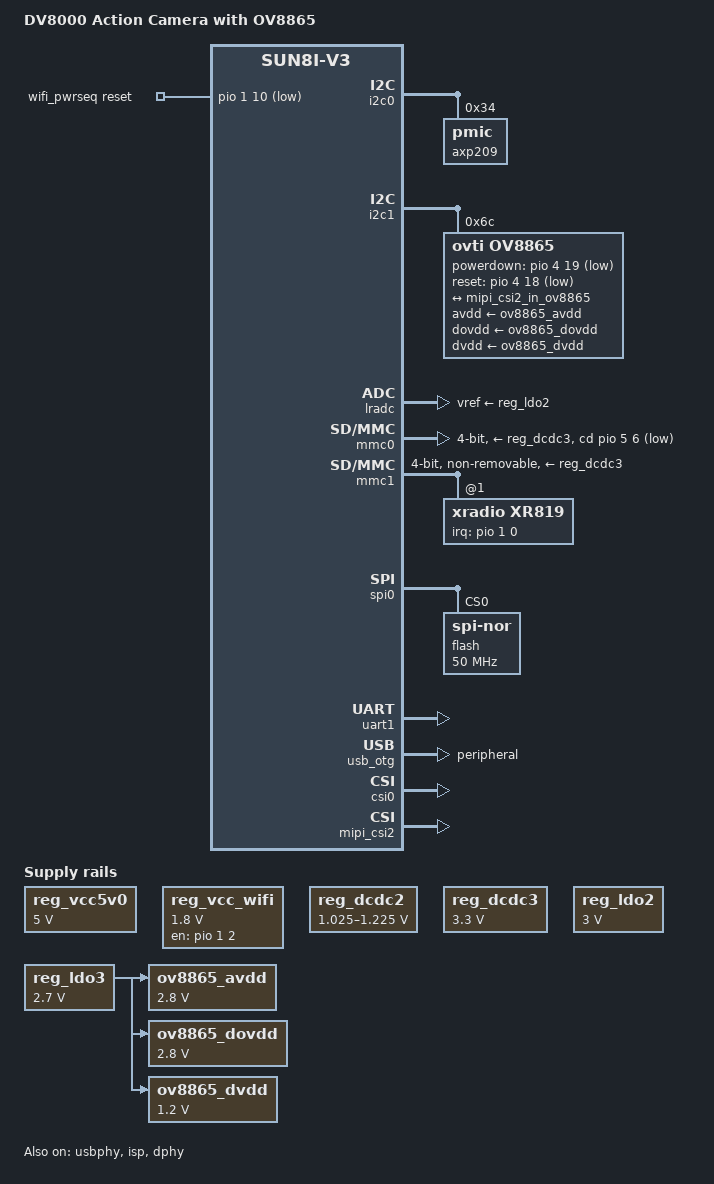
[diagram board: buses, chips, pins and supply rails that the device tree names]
// SPDX-License-Identifier: (GPL-2.0+ OR X11)
/*
 * Copyright 2020 Paul Kocialkowski <contact@paulk.fr>
 */

/dts-v1/;

#include "sun8i-v3.dtsi"

#include <dt-bindings/gpio/gpio.h>
#include <dt-bindings/input/input.h>

/ {
	model = "DV8000 Action Camera with OV8865";
	compatible = "allwinner,dv8000-ov8865", "allwinner,dv8000",
		     "allwinner,sun8i-v3";

	aliases {
		serial0 = &uart1;
		ethernet0 = &xr819;
	};

	chosen {
		stdout-path = "serial0:115200n8";
	};

	cpu0_opp_table: opp-table-cpu {
		compatible = "operating-points-v2";
		opp-shared;

		opp-120000000 {
			opp-hz = /bits/ 64 <120000000>;
			opp-microvolt = <1200000>;
			clock-latency-ns = <244144>; /* 8 32k periods */
		};

		opp-240000000 {
			opp-hz = /bits/ 64 <240000000>;
			opp-microvolt = <1200000>;
			clock-latency-ns = <244144>; /* 8 32k periods */
		};

		opp-312000000 {
			opp-hz = /bits/ 64 <312000000>;
			opp-microvolt = <1200000>;
			clock-latency-ns = <244144>; /* 8 32k periods */
		};

		opp-408000000 {
			opp-hz = /bits/ 64 <408000000>;
			opp-microvolt = <1200000>;
			clock-latency-ns = <244144>; /* 8 32k periods */
		};

		opp-480000000 {
			opp-hz = /bits/ 64 <480000000>;
			opp-microvolt = <1200000>;
			clock-latency-ns = <244144>; /* 8 32k periods */
		};

		opp-504000000 {
			opp-hz = /bits/ 64 <504000000>;
			opp-microvolt = <1200000>;
			clock-latency-ns = <244144>; /* 8 32k periods */
		};

		opp-600000000 {
			opp-hz = /bits/ 64 <600000000>;
			opp-microvolt = <1200000>;
			clock-latency-ns = <244144>; /* 8 32k periods */
		};

		opp-648000000 {
			opp-hz = /bits/ 64 <648000000>;
			opp-microvolt = <1200000>;
			clock-latency-ns = <244144>; /* 8 32k periods */
		};

		opp-720000000 {
			opp-hz = /bits/ 64 <720000000>;
			opp-microvolt = <1200000>;
			clock-latency-ns = <244144>; /* 8 32k periods */
		};

		opp-816000000 {
			opp-hz = /bits/ 64 <816000000>;
			opp-microvolt = <1200000>;
			clock-latency-ns = <244144>; /* 8 32k periods */
		};

		opp-912000000 {
			opp-hz = /bits/ 64 <912000000>;
			opp-microvolt = <1200000>;
			clock-latency-ns = <244144>; /* 8 32k periods */
		};

		opp-1008000000 {
			opp-hz = /bits/ 64 <1008000000>;
			opp-microvolt = <1200000>;
			clock-latency-ns = <244144>; /* 8 32k periods */
		};
	};

	reg_vcc5v0: vcc5v0 {
		compatible = "regulator-fixed";
		regulator-name = "vcc5v0";
		regulator-min-microvolt = <5000000>;
		regulator-max-microvolt = <5000000>;
	};

	reg_vcc_wifi: reg_vcc_wifi {
		compatible = "regulator-fixed";
		regulator-min-microvolt = <1800000>;
		regulator-max-microvolt = <1800000>;
		regulator-name = "vcc-wifi";
		gpio = <&pio 1 2 GPIO_ACTIVE_HIGH>;	// PB2 WIFI_POWER_EN
		startup-delay-ms = <200>;
		enable-active-high;
	};

	wifi_pwrseq: wifi_pwrseq {
		compatible = "mmc-pwrseq-simple";
		reset-gpios = <&pio 1 10 GPIO_ACTIVE_LOW>;  // PB10 WIFI_RESTN
		post-power-on-delay-ms = <250>;
	};

	ov8865_avdd: ov8865-avdd {
		compatible = "regulator-fixed";
		regulator-name = "ov8865-avdd";
		regulator-min-microvolt = <2800000>;
		regulator-max-microvolt = <2800000>;
		vin-supply = <&reg_ldo3>;
	};

	ov8865_dovdd: ov8865-dovdd {
		compatible = "regulator-fixed";
		regulator-name = "ov8865-dovdd";
		regulator-min-microvolt = <2800000>;
		regulator-max-microvolt = <2800000>;
		vin-supply = <&reg_ldo3>;
	};

	ov8865_dvdd: ov8865-dvdd {
		compatible = "regulator-fixed";
		regulator-name = "ov8865-dvdd";
		regulator-min-microvolt = <1200000>;
		regulator-max-microvolt = <1200000>;
		vin-supply = <&reg_ldo3>;
	};
};

&cpu0 {
	clock-names = "cpu";
	clock-frequency = <1008000000>;
	operating-points-v2 = <&cpu0_opp_table>;
	cpu-supply = <&reg_dcdc2>;
};

&i2c0 {
	status = "okay";

	axp209: pmic@34 {
		reg = <0x34>;
		interrupt-parent = <&nmi_intc>;
		interrupts = <0 IRQ_TYPE_LEVEL_LOW>;
	};
};

&i2c1 {
	pinctrl-names = "default";
	pinctrl-0 = <&i2c1_pe_pins>;
	status = "okay";
};

&lradc {
	vref-supply = <&reg_ldo2>;
	status = "okay";

	button-174 {
		label = "Down";
		linux,code = <KEY_DOWN>;
		channel = <0>;
		voltage = <174603>;
	};

	button-384 {
		label = "Up";
		linux,code = <KEY_UP>;
		channel = <0>;
		voltage = <384126>;
	};

	button-593 {
		label = "OK";
		linux,code = <KEY_OK>;
		channel = <0>;
		voltage = <593650>;
	};
};

&mmc0 {
	cd-gpios = <&pio 5 6 GPIO_ACTIVE_LOW>; /* PF6 */
	bus-width = <4>;
	vmmc-supply = <&reg_dcdc3>;
	status = "okay";
};

&mmc1 {
	vqmmc-supply = <&reg_vcc_wifi>;
	vmmc-supply = <&reg_dcdc3>;
	mmc-pwrseq = <&wifi_pwrseq>;
	bus-width = <4>;
	non-removable;
	status = "okay";

	xr819: xr819wifi@1 {
		reg = <1>;
		compatible = "xradio,xr819";
		pinctrl-names = "default";
		pinctrl-0 = <&wifi_wake>;
		interrupt-parent = <&pio>;
		interrupts = <1 0 IRQ_TYPE_EDGE_RISING>;
		interrupt-names = "host-wake";
		local-mac-address = [dc 44 6d c0 ff ee];
	};
};

&pio {
	wifi_wake: wifi_wake {
		pins = "PB0";
		function = "gpio_in";
	};
};

&pio {
	vcc-pd-supply = <&reg_dcdc3>;
};

#include "axp209.dtsi"

&ac_power_supply {
	status = "okay";
};

&battery_power_supply {
	status = "okay";
};

&reg_dcdc2 {
	regulator-always-on;
	regulator-min-microvolt = <1025000>;
	regulator-max-microvolt = <1225000>;
	regulator-name = "vdd-sys-cpu";
	regulator-ramp-delay = <50>;		/* 4ms */
};

&reg_dcdc3 {
	regulator-always-on;
	regulator-min-microvolt = <3300000>;
	regulator-max-microvolt = <3300000>;
	regulator-name = "vdd-3v3";
};

&reg_ldo1 {
	regulator-name = "vdd-rtc";
};

&reg_ldo2 {
	regulator-always-on;
	regulator-min-microvolt = <3000000>;
	regulator-max-microvolt = <3000000>;
	regulator-name = "avcc";
};

&reg_ldo3 {
	regulator-always-on;
	regulator-min-microvolt = <2700000>;
	regulator-max-microvolt = <2700000>;
	regulator-name = "vcc-pe";
};

&spi0 {
	status = "okay";

	flash@0 {
		reg = <0>;
		compatible = "jedec,spi-nor";
		spi-max-frequency = <50000000>;
	};
};

&uart1 {
	pinctrl-0 = <&uart1_pg_pins>;
	pinctrl-names = "default";
	status = "okay";
};

&usb_otg {
	dr_mode = "peripheral";
	status = "okay";
};

&usbphy {
	status = "okay";
};

&ccu {
	assigned-clocks = <&ccu CLK_CSI0_MCLK>;
	assigned-clock-parents = <&osc24M>;
	assigned-clock-rates = <24000000>;
};

&isp {
	status = "okay";
};

&csi0 {
	status = "okay";
};

&dphy {
	status = "okay";
};

&mipi_csi2 {
	status = "okay";
};

&i2c1 {
	ov8865: camera@6c {
		compatible = "ovti,ov8865";
		reg = <0x6c>; /* vip_dev0_twi_addr = 0x6c */

		pinctrl-names = "default";
		pinctrl-0 = <&csi0_mclk_pin>;

		clocks = <&ccu CLK_CSI0_MCLK>;
		assigned-clocks = <&ccu CLK_CSI0_MCLK>;
		assigned-clock-parents = <&osc24M>;
		assigned-clock-rates = <24000000>;

		avdd-supply = <&ov8865_avdd>;
		dovdd-supply = <&ov8865_dovdd>;
		dvdd-supply = <&ov8865_dvdd>;

		powerdown-gpios = <&pio 4 19 GPIO_ACTIVE_LOW>; /* PE19 */
		reset-gpios = <&pio 4 18 GPIO_ACTIVE_LOW>; /* PE18 */

		port {
			ov8865_out_mipi_csi2: endpoint {
				remote-endpoint = <&mipi_csi2_in_ov8865>;
				link-frequencies = /bits/ 64 <360000000>;
				data-lanes = <1 2 3 4>;
			};
		};
	};
};

&mipi_csi2_in {
	mipi_csi2_in_ov8865: endpoint {
		remote-endpoint = <&ov8865_out_mipi_csi2>;
		data-lanes = <1 2 3 4>;
	};
};
